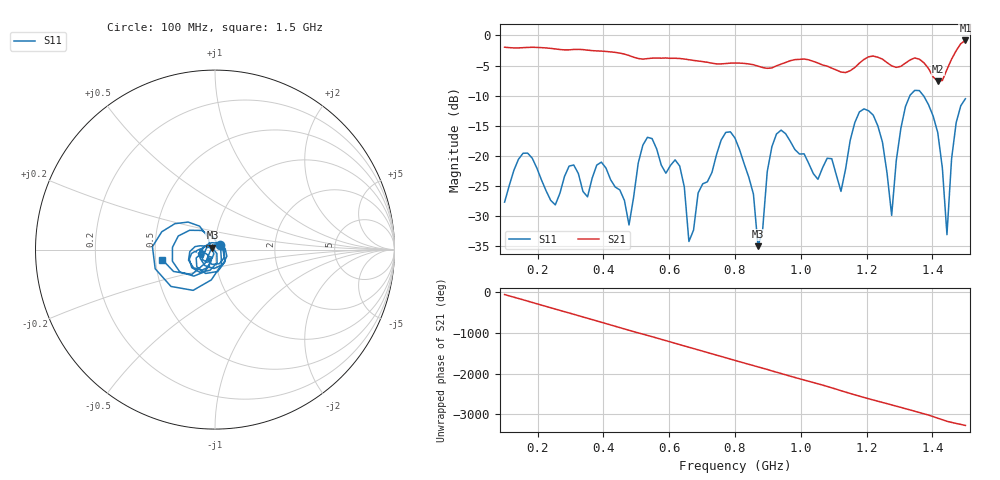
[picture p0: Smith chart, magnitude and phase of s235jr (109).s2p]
! NanoVNA-App
! Date: 2025-09-26 09:45:38
! Start: 100MHz Stop: 1,5GHz Points: 101
! S-Parameter data: F S11 S21 S12 S22
# Hz S RI R 50
!  Frequency  S11_Real  S11_Imag  S21_Real  S21_Imag  S12_Real  S12_Imag  S22_Real  S22_Imag
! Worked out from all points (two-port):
!   101 points, 100 MHz to 1.5 GHz, reference 50 ohm
!   highest |S21| = -0.84 dB at 1.5 GHz (marker M1); lowest = -7.6 dB at 1.416 GHz (marker M2)
!   |S21| within 3 dB of the highest: start of sweep to 507.1 MHz; 535.9 MHz to 633.6 MHz (97.65 MHz wide, 16.7 % of centre) (the widest 2 of 5)
!   lowest |S11| = -35.0 dB at 870 MHz (marker M3), VSWR 1.04, Z = 48.5 + j1 ohm
!   |S11| at or under -10 dB: start of sweep to 1.331 GHz; 1.373 GHz to end of sweep
!   S12 and S22 are empty: the file has one direction only
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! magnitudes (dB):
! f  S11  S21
! 100 MHz  -27.6  -2.0
! 156 MHz  -19.5  -2.0
! 338 MHz  -25.9  -2.4
! 394 MHz  -21.0  -2.6
! 478 MHz  -31.4  -3.3
! 520 MHz  -18.2  -3.9
! 576 MHz  -21.5  -3.8
! 632 MHz  -21.7  -3.8
! 660 MHz  -34.2  -4.0
! 800 MHz  -17.0  -4.6
! 870 MHz  -35.0  -5.1
! 926 MHz  -16.4  -5.0
! 1.038 GHz  -22.9  -4.3
! 1.122 GHz  -25.9  -6.1
! 1.206 GHz  -12.5  -3.5
! 1.248 GHz  -17.7  -3.9
! 1.276 GHz  -29.8  -5.0
! 1.332 GHz  -9.9  -4.1
! 1.416 GHz  -16.1  -7.6
! 1.444 GHz  -33.0  -5.7
! 1.472 GHz  -14.5  -2.5
! 1.5 GHz  -10.5  -0.8
